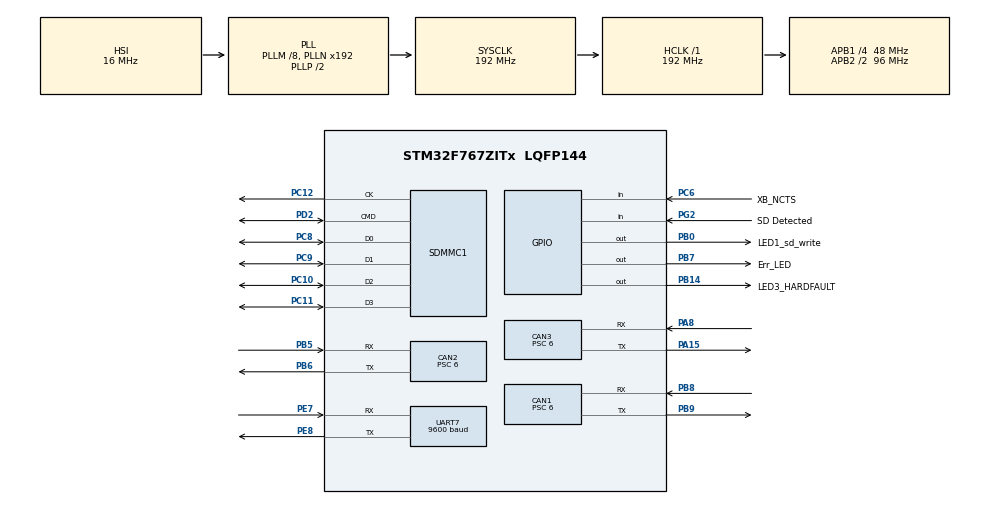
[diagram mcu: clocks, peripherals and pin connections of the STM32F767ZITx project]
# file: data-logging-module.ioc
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CAN1.ABOM=ENABLE
CAN1.AWUM=ENABLE
CAN1.BS1=CAN_BS1_6TQ
CAN1.BS2=CAN_BS2_1TQ
CAN1.CalculateBaudRate=1000000
CAN1.CalculateTimeBit=1000
CAN1.CalculateTimeQuantum=125.0
CAN1.Prescaler=6
CAN2.ABOM=ENABLE
CAN2.AWUM=ENABLE
CAN2.BS1=CAN_BS1_6TQ
CAN2.BS2=CAN_BS2_1TQ
CAN2.CalculateBaudRate=1000000
CAN2.CalculateTimeBit=1000
CAN2.CalculateTimeQuantum=125.0
CAN2.Prescaler=6
CAN3.ABOM=ENABLE
CAN3.AWUM=ENABLE
CAN3.BS1=CAN_BS1_6TQ
CAN3.CalculateBaudRate=1000000
CAN3.CalculateTimeBit=1000
CAN3.CalculateTimeQuantum=125.0
CAN3.Prescaler=6
Dma.Request0=SDMMC1_TX
Dma.Request1=SDMMC1_RX
Dma.Request2=UART7_TX
Dma.SDMMC1_RX.1.Direction=DMA_PERIPH_TO_MEMORY
Dma.SDMMC1_RX.1.FIFOMode=DMA_FIFOMODE_ENABLE
Dma.SDMMC1_RX.1.FIFOThreshold=DMA_FIFO_THRESHOLD_FULL
Dma.SDMMC1_RX.1.Instance=DMA2_Stream6
Dma.SDMMC1_RX.1.MemBurst=DMA_MBURST_INC4
Dma.SDMMC1_RX.1.MemDataAlignment=DMA_MDATAALIGN_WORD
Dma.SDMMC1_RX.1.MemInc=DMA_MINC_ENABLE
Dma.SDMMC1_RX.1.Mode=DMA_PFCTRL
Dma.SDMMC1_RX.1.PeriphBurst=DMA_PBURST_INC4
Dma.SDMMC1_RX.1.PeriphDataAlignment=DMA_PDATAALIGN_WORD
Dma.SDMMC1_RX.1.PeriphInc=DMA_PINC_DISABLE
Dma.SDMMC1_RX.1.Priority=DMA_PRIORITY_VERY_HIGH
Dma.SDMMC1_TX.0.Direction=DMA_MEMORY_TO_PERIPH
Dma.SDMMC1_TX.0.FIFOMode=DMA_FIFOMODE_ENABLE
Dma.SDMMC1_TX.0.FIFOThreshold=DMA_FIFO_THRESHOLD_FULL
Dma.SDMMC1_TX.0.Instance=DMA2_Stream3
Dma.SDMMC1_TX.0.MemBurst=DMA_MBURST_INC4
Dma.SDMMC1_TX.0.MemDataAlignment=DMA_MDATAALIGN_WORD
Dma.SDMMC1_TX.0.MemInc=DMA_MINC_ENABLE
Dma.SDMMC1_TX.0.Mode=DMA_PFCTRL
Dma.SDMMC1_TX.0.PeriphBurst=DMA_PBURST_INC4
Dma.SDMMC1_TX.0.PeriphDataAlignment=DMA_PDATAALIGN_WORD
Dma.SDMMC1_TX.0.PeriphInc=DMA_PINC_DISABLE
Dma.SDMMC1_TX.0.Priority=DMA_PRIORITY_VERY_HIGH
Dma.UART7_TX.2.Direction=DMA_MEMORY_TO_PERIPH
Dma.UART7_TX.2.FIFOMode=DMA_FIFOMODE_DISABLE
Dma.UART7_TX.2.Instance=DMA1_Stream1
Dma.UART7_TX.2.MemDataAlignment=DMA_MDATAALIGN_BYTE
Dma.UART7_TX.2.MemInc=DMA_MINC_ENABLE
Dma.UART7_TX.2.Mode=DMA_NORMAL
Dma.UART7_TX.2.PeriphDataAlignment=DMA_PDATAALIGN_BYTE
Dma.UART7_TX.2.PeriphInc=DMA_PINC_DISABLE
Dma.UART7_TX.2.Priority=DMA_PRIORITY_LOW
FATFS._CODE_PAGE=437
FATFS._FS_TIMEOUT=1000
FATFS._MAX_SS=4096
FATFS._MIN_SS=512
FATFS._USE_LFN=2
FREERTOS.Mutexes01=mutex_broadcast_buffer,Dynamic,NULL;mutex_storage_buffer,Dynamic,NULL
FREERTOS.Tasks01=can_loop_task,2,1024,can_loop,Default,NULL,Dynamic,NULL,NULL;dlm_manage_data,1,1024,dlm_main,Default,NULL,Dynamic,NULL,NULL;move_ram_to_sd_,0,2048,move_ram_to_sd,Default,NULL,Dynamic,NULL,NULL;transmit_ram_,0,2048,transmit_ram,Default,NULL,Dynamic,NULL,NULL;LED_Task,-1,256,err_led_task,Default,NULL,Dynamic,NULL,NULL
FREERTOS.configCHECK_FOR_STACK_OVERFLOW=1
FREERTOS.configMINIMAL_STACK_SIZE=256
FREERTOS.configTOTAL_HEAP_SIZE=64000
Mcu.Family=STM32F7
Mcu.Name=STM32F767ZITx
Mcu.Package=LQFP144
NVIC.CAN1_RX0_IRQn=true\:5\:0\:false\:false\:true\:true\:true\:true\:true
NVIC.CAN1_RX1_IRQn=true\:5\:0\:false\:false\:true\:true\:true\:true\:true
NVIC.CAN1_TX_IRQn=true\:5\:0\:false\:false\:true\:true\:true\:true\:true
NVIC.CAN2_RX0_IRQn=true\:5\:0\:false\:false\:true\:true\:true\:true\:true
NVIC.CAN2_RX1_IRQn=true\:5\:0\:false\:false\:true\:true\:true\:true\:true
NVIC.CAN2_TX_IRQn=true\:5\:0\:false\:false\:true\:true\:true\:true\:true
NVIC.CAN3_RX0_IRQn=true\:5\:0\:false\:false\:true\:true\:true\:true\:true
NVIC.CAN3_RX1_IRQn=true\:5\:0\:false\:false\:true\:true\:true\:true\:true
NVIC.CAN3_TX_IRQn=true\:5\:0\:false\:false\:true\:true\:true\:true\:true
NVIC.DMA1_Stream1_IRQn=true\:5\:0\:false\:false\:true\:true\:false\:true\:true
NVIC.DMA2_Stream3_IRQn=true\:5\:0\:true\:false\:true\:true\:false\:true\:true
NVIC.DMA2_Stream6_IRQn=true\:5\:0\:false\:false\:true\:true\:false\:true\:true
NVIC.PriorityGroup=NVIC_PRIORITYGROUP_4
NVIC.SDMMC1_IRQn=true\:5\:0\:true\:false\:true\:true\:true\:true\:true
NVIC.TIM6_DAC_IRQn=true\:0\:0\:false\:false\:true\:false\:false\:true\:true
NVIC.TimeBase=TIM6_DAC_IRQn
NVIC.TimeBaseIP=TIM6
NVIC.UART7_IRQn=true\:5\:0\:false\:false\:true\:true\:true\:true\:true
PA15.Mode=CAN_Activate
PA15.Signal=CAN3_TX
PA8.Mode=CAN_Activate
PA8.Signal=CAN3_RX
PB0.GPIO_Label=LED1_sd_write
PB0.Signal=GPIO_Output
PB14.GPIO_Label=LED3_HARDFAULT
PB14.PinState=GPIO_PIN_RESET
PB14.Signal=GPIO_Output
PB5.Mode=CAN_Activate
PB5.Signal=CAN2_RX
PB6.Mode=CAN_Activate
PB6.Signal=CAN2_TX
PB7.GPIO_Label=Err_LED
PB7.Signal=GPIO_Output
PB8.Mode=CAN_Activate
PB8.Signal=CAN1_RX
PB9.Mode=CAN_Activate
PB9.Signal=CAN1_TX
PC10.GPIO_PuPd=GPIO_PULLUP
PC10.Mode=SD_4_bits_Wide_bus
PC10.Signal=SDMMC1_D2
PC11.GPIO_PuPd=GPIO_PULLUP
PC11.Mode=SD_4_bits_Wide_bus
PC11.Signal=SDMMC1_D3
PC12.Mode=SD_4_bits_Wide_bus
PC12.Signal=SDMMC1_CK
PC6.GPIO_Label=XB_NCTS
PC6.Signal=GPIO_Input
PC8.GPIO_PuPd=GPIO_PULLUP
PC8.Mode=SD_4_bits_Wide_bus
PC8.Signal=SDMMC1_D0
PC9.GPIO_PuPd=GPIO_PULLUP
PC9.Mode=SD_4_bits_Wide_bus
PC9.Signal=SDMMC1_D1
PD2.GPIO_PuPd=GPIO_PULLUP
PD2.Mode=SD_4_bits_Wide_bus
PD2.Signal=SDMMC1_CMD
PE7.Mode=Asynchronous
PE7.Signal=UART7_RX
PE8.Mode=Asynchronous
PE8.Signal=UART7_TX
PG2.GPIO_Label=SD Detected
PG2.GPIO_PuPd=GPIO_PULLUP
PG2.Signal=GPIO_Input
ProjectManager.HeapSize=0x200
ProjectManager.StackSize=0x400
ProjectManager.TargetToolchain=STM32CubeIDE
RCC.AHBFreq_Value=192000000
RCC.APB1CLKDivider=RCC_HCLK_DIV4
RCC.APB1Freq_Value=48000000
RCC.APB1TimFreq_Value=96000000
RCC.APB2CLKDivider=RCC_HCLK_DIV2
RCC.APB2Freq_Value=96000000
RCC.APB2TimFreq_Value=192000000
RCC.CortexFreq_Value=192000000
RCC.HCLKFreq_Value=192000000
RCC.HSE_VALUE=8000000
RCC.HSI_VALUE=16000000
RCC.LSE_VALUE=32768
RCC.PLLM=8
RCC.PLLQ=8
RCC.SDMMCClockSelection=RCC_SDMMC1CLKSOURCE_CLK48
RCC.SYSCLKFreq_VALUE=192000000
RCC.SYSCLKSource=RCC_SYSCLKSOURCE_PLLCLK
RCC.USBFreq_Value=48000000
RCC.VCOOutputFreq_Value=384000000
RTC.Date=10
RTC.Format=RTC_FORMAT_BIN
RTC.Hours=12
RTC.Minutes=0
RTC.Month=RTC_MONTH_APRIL
RTC.StoreOperation=RTC_STOREOPERATION_RESET
RTC.WeekDay=RTC_WEEKDAY_SATURDAY
RTC.Year=51
UART7.BaudRate=9600
VP_FATFS_VS_SDIO.Mode=SDIO
VP_FREERTOS_VS_CMSIS_V1.Mode=CMSIS_V1
VP_RTC_VS_RTC_Activate.Mode=RTC_Enabled
VP_RTC_VS_RTC_Calendar.Mode=RTC_Calendar
VP_SYS_VS_tim6.Mode=TIM6
board=custom

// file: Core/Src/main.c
/* USER CODE BEGIN Header */
/**
  ******************************************************************************
  * @file           : main.c
  * @brief          : Main program body
  ******************************************************************************
  * @attention
  *
  * <h2><center>&copy; Copyright (c) 2020 STMicroelectronics.
  * All rights reserved.</center></h2>
  *
  * This software component is licensed by ST under BSD 3-Clause license,
  * the "License"; You may not use this file except in compliance with the
  * License. You may obtain a copy of the License at:
  *                        opensource.org/licenses/BSD-3-Clause
  *
  ******************************************************************************
  */
/* USER CODE END Header */
#include "main.h"
#include "cmsis_os.h"
#include "fatfs.h"

/* USER CODE BEGIN Includes */
#include "dlm-high_level_functions.h"
#include "dlm-error_handling.h"
/* USER CODE END Includes */

CAN_HandleTypeDef hcan1;
CAN_HandleTypeDef hcan2;
CAN_HandleTypeDef hcan3;

RTC_HandleTypeDef hrtc;

SD_HandleTypeDef hsd1;
DMA_HandleTypeDef hdma_sdmmc1_tx;
DMA_HandleTypeDef hdma_sdmmc1_rx;

UART_HandleTypeDef huart7;
DMA_HandleTypeDef hdma_uart7_tx;

osThreadId can_loop_taskHandle;
osThreadId dlm_manage_dataHandle;
osThreadId move_ram_to_sd_Handle;
osThreadId transmit_ram_Handle;
osThreadId LED_TaskHandle;
osMutexId mutex_broadcast_bufferHandle;
osMutexId mutex_storage_bufferHandle;

void SystemClock_Config(void);
static void MX_GPIO_Init(void);
static void MX_DMA_Init(void);
static void MX_CAN1_Init(void);
static void MX_CAN2_Init(void);
static void MX_SDMMC1_SD_Init(void);
static void MX_RTC_Init(void);
static void MX_CAN3_Init(void);
static void MX_UART7_Init(void);
void can_loop(void const * argument);
void dlm_main(void const * argument);
void move_ram_to_sd(void const * argument);
void transmit_ram(void const * argument);
void err_led_task(void const * argument);

int main(void)
{

  /* MCU Configuration--------------------------------------------------------*/

  /* Reset of all peripherals, Initializes the Flash interface and the Systick. */
  HAL_Init();

  /* Configure the system clock */
  SystemClock_Config();

  /* Initialize all configured peripherals */
  MX_GPIO_Init();
  MX_DMA_Init();
  MX_CAN1_Init();
  MX_CAN2_Init();
  MX_SDMMC1_SD_Init();
  MX_FATFS_Init();
  MX_RTC_Init();
  MX_CAN3_Init();
  MX_UART7_Init();
  /* USER CODE BEGIN 2 */

  dlm_init(&hcan1, &hcan2, &hcan3, &huart7, GPIOB, Err_LED_Pin, GPIOB, LED1_sd_write_Pin);

  /* USER CODE END 2 */

  /* Create the mutex(es) */
  /* definition and creation of mutex_broadcast_buffer */
  osMutexDef(mutex_broadcast_buffer);
  mutex_broadcast_bufferHandle = osMutexCreate(osMutex(mutex_broadcast_buffer));

  /* definition and creation of mutex_storage_buffer */
  osMutexDef(mutex_storage_buffer);
  mutex_storage_bufferHandle = osMutexCreate(osMutex(mutex_storage_buffer));

  /* Create the thread(s) */
  /* definition and creation of can_loop_task */
  osThreadDef(can_loop_task, can_loop, osPriorityHigh, 0, 1024);
  can_loop_taskHandle = osThreadCreate(osThread(can_loop_task), NULL);

  /* definition and creation of dlm_manage_data */
  osThreadDef(dlm_manage_data, dlm_main, osPriorityAboveNormal, 0, 1024);
  dlm_manage_dataHandle = osThreadCreate(osThread(dlm_manage_data), NULL);

  /* definition and creation of move_ram_to_sd_ */
  osThreadDef(move_ram_to_sd_, move_ram_to_sd, osPriorityNormal, 0, 2048);
  move_ram_to_sd_Handle = osThreadCreate(osThread(move_ram_to_sd_), NULL);

  /* definition and creation of transmit_ram_ */
  osThreadDef(transmit_ram_, transmit_ram, osPriorityNormal, 0, 2048);
  transmit_ram_Handle = osThreadCreate(osThread(transmit_ram_), NULL);

  /* definition and creation of LED_Task */
  osThreadDef(LED_Task, err_led_task, osPriorityBelowNormal, 0, 256);
  LED_TaskHandle = osThreadCreate(osThread(LED_Task), NULL);

  /* Start scheduler */
  osKernelStart();

  /* We should never get here as control is now taken by the scheduler */
  /* Infinite loop */
  while (1)
  {

  }
}

void SystemClock_Config(void)
{
  RCC_OscInitTypeDef RCC_OscInitStruct = {0};
  RCC_ClkInitTypeDef RCC_ClkInitStruct = {0};
  RCC_PeriphCLKInitTypeDef PeriphClkInitStruct = {0};

  /** Configure the main internal regulator output voltage
  */
  __HAL_RCC_PWR_CLK_ENABLE();
  __HAL_PWR_VOLTAGESCALING_CONFIG(PWR_REGULATOR_VOLTAGE_SCALE1);
  /** Initializes the RCC Oscillators according to the specified parameters
  * in the RCC_OscInitTypeDef structure.
  */
  RCC_OscInitStruct.OscillatorType = RCC_OSCILLATORTYPE_HSI|RCC_OSCILLATORTYPE_LSI;
  RCC_OscInitStruct.HSIState = RCC_HSI_ON;
  RCC_OscInitStruct.HSICalibrationValue = RCC_HSICALIBRATION_DEFAULT;
  RCC_OscInitStruct.LSIState = RCC_LSI_ON;
  RCC_OscInitStruct.PLL.PLLState = RCC_PLL_ON;
  RCC_OscInitStruct.PLL.PLLSource = RCC_PLLSOURCE_HSI;
  RCC_OscInitStruct.PLL.PLLM = 8;
  RCC_OscInitStruct.PLL.PLLN = 192;
  RCC_OscInitStruct.PLL.PLLP = RCC_PLLP_DIV2;
  RCC_OscInitStruct.PLL.PLLQ = 8;
  if (HAL_RCC_OscConfig(&RCC_OscInitStruct) != HAL_OK)
  {
    Error_Handler();
  }
  /** Activate the Over-Drive mode
  */
  if (HAL_PWREx_EnableOverDrive() != HAL_OK)
  {
    Error_Handler();
  }
  /** Initializes the CPU, AHB and APB buses clocks
  */
  RCC_ClkInitStruct.ClockType = RCC_CLOCKTYPE_HCLK|RCC_CLOCKTYPE_SYSCLK
                              |RCC_CLOCKTYPE_PCLK1|RCC_CLOCKTYPE_PCLK2;
  RCC_ClkInitStruct.SYSCLKSource = RCC_SYSCLKSOURCE_PLLCLK;
  RCC_ClkInitStruct.AHBCLKDivider = RCC_SYSCLK_DIV1;
  RCC_ClkInitStruct.APB1CLKDivider = RCC_HCLK_DIV4;
  RCC_ClkInitStruct.APB2CLKDivider = RCC_HCLK_DIV2;

  if (HAL_RCC_ClockConfig(&RCC_ClkInitStruct, FLASH_LATENCY_6) != HAL_OK)
  {
    Error_Handler();
  }
  PeriphClkInitStruct.PeriphClockSelection = RCC_PERIPHCLK_RTC|RCC_PERIPHCLK_UART7
                              |RCC_PERIPHCLK_SDMMC1|RCC_PERIPHCLK_CLK48;
  PeriphClkInitStruct.RTCClockSelection = RCC_RTCCLKSOURCE_LSI;
  PeriphClkInitStruct.Uart7ClockSelection = RCC_UART7CLKSOURCE_PCLK1;
  PeriphClkInitStruct.Clk48ClockSelection = RCC_CLK48SOURCE_PLL;
  PeriphClkInitStruct.Sdmmc1ClockSelection = RCC_SDMMC1CLKSOURCE_CLK48;
  if (HAL_RCCEx_PeriphCLKConfig(&PeriphClkInitStruct) != HAL_OK)
  {
    Error_Handler();
  }
}

static void MX_CAN1_Init(void)
{

  /* USER CODE BEGIN CAN1_Init 0 */
#ifndef SIMULATE_DATA_COLLECTION
  /* USER CODE END CAN1_Init 0 */

  hcan1.Instance = CAN1;
  hcan1.Init.Prescaler = 6;
  hcan1.Init.Mode = CAN_MODE_NORMAL;
  hcan1.Init.SyncJumpWidth = CAN_SJW_1TQ;
  hcan1.Init.TimeSeg1 = CAN_BS1_6TQ;
  hcan1.Init.TimeSeg2 = CAN_BS2_1TQ;
  hcan1.Init.TimeTriggeredMode = DISABLE;
  hcan1.Init.AutoBusOff = ENABLE;
  hcan1.Init.AutoWakeUp = ENABLE;
  hcan1.Init.AutoRetransmission = DISABLE;
  hcan1.Init.ReceiveFifoLocked = DISABLE;
  hcan1.Init.TransmitFifoPriority = DISABLE;
  if (HAL_CAN_Init(&hcan1) != HAL_OK)
  {
    Error_Handler();
  }
  /* USER CODE BEGIN CAN1_Init 2 */
#endif
  /* USER CODE END CAN1_Init 2 */

}

static void MX_CAN2_Init(void)
{

  /* USER CODE BEGIN CAN2_Init 0 */
#ifndef SIMULATE_DATA_COLLECTION
  /* USER CODE END CAN2_Init 0 */

  hcan2.Instance = CAN2;
  hcan2.Init.Prescaler = 6;
  hcan2.Init.Mode = CAN_MODE_NORMAL;
  hcan2.Init.SyncJumpWidth = CAN_SJW_1TQ;
  hcan2.Init.TimeSeg1 = CAN_BS1_6TQ;
  hcan2.Init.TimeSeg2 = CAN_BS2_1TQ;
  hcan2.Init.TimeTriggeredMode = DISABLE;
  hcan2.Init.AutoBusOff = ENABLE;
  hcan2.Init.AutoWakeUp = ENABLE;
  hcan2.Init.AutoRetransmission = DISABLE;
  hcan2.Init.ReceiveFifoLocked = DISABLE;
  hcan2.Init.TransmitFifoPriority = DISABLE;
  if (HAL_CAN_Init(&hcan2) != HAL_OK)
  {
    Error_Handler();
  }
  /* USER CODE BEGIN CAN2_Init 2 */
#endif
  /* USER CODE END CAN2_Init 2 */

}

static void MX_CAN3_Init(void)
{

  /* USER CODE BEGIN CAN3_Init 0 */
#ifndef SIMULATE_DATA_COLLECTION
  /* USER CODE END CAN3_Init 0 */

  hcan3.Instance = CAN3;
  hcan3.Init.Prescaler = 6;
  hcan3.Init.Mode = CAN_MODE_NORMAL;
  hcan3.Init.SyncJumpWidth = CAN_SJW_1TQ;
  hcan3.Init.TimeSeg1 = CAN_BS1_6TQ;
  hcan3.Init.TimeSeg2 = CAN_BS2_1TQ;
  hcan3.Init.TimeTriggeredMode = DISABLE;
  hcan3.Init.AutoBusOff = ENABLE;
  hcan3.Init.AutoWakeUp = ENABLE;
  hcan3.Init.AutoRetransmission = DISABLE;
  hcan3.Init.ReceiveFifoLocked = DISABLE;
  hcan3.Init.TransmitFifoPriority = DISABLE;
  if (HAL_CAN_Init(&hcan3) != HAL_OK)
  {
    Error_Handler();
  }
  /* USER CODE BEGIN CAN3_Init 2 */
#endif
  /* USER CODE END CAN3_Init 2 */

}

static void MX_RTC_Init(void)
{

  /* USER CODE BEGIN RTC_Init 0 */
	// part of the bad solution
	RTC_TimeTypeDef old_time = {0};
	RTC_DateTypeDef old_date = {0};

  /* USER CODE END RTC_Init 0 */

  RTC_TimeTypeDef sTime = {0};
  RTC_DateTypeDef sDate = {0};

  /** Initialize RTC Only
  */
  hrtc.Instance = RTC;
  hrtc.Init.HourFormat = RTC_HOURFORMAT_24;
  hrtc.Init.AsynchPrediv = 127;
  hrtc.Init.SynchPrediv = 255;
  hrtc.Init.OutPut = RTC_OUTPUT_DISABLE;
  hrtc.Init.OutPutPolarity = RTC_OUTPUT_POLARITY_HIGH;
  hrtc.Init.OutPutType = RTC_OUTPUT_TYPE_OPENDRAIN;
  if (HAL_RTC_Init(&hrtc) != HAL_OK)
  {
    Error_Handler();
  }

  /* USER CODE BEGIN Check_RTC_BKUP */

  // this is a dumb solution to the problem of the auto-gen code resetting the time and
  // date on every MCU reset

  // get the time and date stored before reseting
  HAL_RTC_GetTime(&hrtc, &old_time, RTC_FORMAT_BIN);
  HAL_RTC_GetDate(&hrtc, &old_date, RTC_FORMAT_BIN);

  /* USER CODE END Check_RTC_BKUP */

  /** Initialize RTC and set the Time and Date
  */
  sTime.Hours = 12;
  sTime.Minutes = 0;
  sTime.Seconds = 0;
  sTime.DayLightSaving = RTC_DAYLIGHTSAVING_NONE;
  sTime.StoreOperation = RTC_STOREOPERATION_RESET;
  if (HAL_RTC_SetTime(&hrtc, &sTime, RTC_FORMAT_BIN) != HAL_OK)
  {
    Error_Handler();
  }
  sDate.WeekDay = RTC_WEEKDAY_SATURDAY;
  sDate.Month = RTC_MONTH_APRIL;
  sDate.Date = 10;
  sDate.Year = 51;

  if (HAL_RTC_SetDate(&hrtc, &sDate, RTC_FORMAT_BIN) != HAL_OK)
  {
    Error_Handler();
  }
  /* USER CODE BEGIN RTC_Init 2 */

  // part of the bad solution

  // put the old time and date back to what it used to be
  if (HAL_RTC_SetTime(&hrtc, &old_time, RTC_FORMAT_BIN) != HAL_OK)
  {
	Error_Handler();
  }
  if (HAL_RTC_SetDate(&hrtc, &old_date, RTC_FORMAT_BIN) != HAL_OK)
  {
    Error_Handler();
  }

  /* USER CODE END RTC_Init 2 */

}

static void MX_SDMMC1_SD_Init(void)
{

  hsd1.Instance = SDMMC1;
  hsd1.Init.ClockEdge = SDMMC_CLOCK_EDGE_RISING;
  hsd1.Init.ClockBypass = SDMMC_CLOCK_BYPASS_DISABLE;
  hsd1.Init.ClockPowerSave = SDMMC_CLOCK_POWER_SAVE_DISABLE;
  hsd1.Init.BusWide = SDMMC_BUS_WIDE_1B;
  hsd1.Init.HardwareFlowControl = SDMMC_HARDWARE_FLOW_CONTROL_DISABLE;
  hsd1.Init.ClockDiv = 0;

}

static void MX_UART7_Init(void)
{

  huart7.Instance = UART7;
  huart7.Init.BaudRate = 9600;
  huart7.Init.WordLength = UART_WORDLENGTH_8B;
  huart7.Init.StopBits = UART_STOPBITS_1;
  huart7.Init.Parity = UART_PARITY_NONE;
  huart7.Init.Mode = UART_MODE_TX_RX;
  huart7.Init.HwFlowCtl = UART_HWCONTROL_NONE;
  huart7.Init.OverSampling = UART_OVERSAMPLING_16;
  huart7.Init.OneBitSampling = UART_ONE_BIT_SAMPLE_DISABLE;
  huart7.AdvancedInit.AdvFeatureInit = UART_ADVFEATURE_NO_INIT;
  if (HAL_UART_Init(&huart7) != HAL_OK)
  {
    Error_Handler();
  }

}

static void MX_DMA_Init(void)
{

  /* DMA controller clock enable */
  __HAL_RCC_DMA2_CLK_ENABLE();
  __HAL_RCC_DMA1_CLK_ENABLE();

  /* DMA interrupt init */
  /* DMA1_Stream1_IRQn interrupt configuration */
  HAL_NVIC_SetPriority(DMA1_Stream1_IRQn, 5, 0);
  HAL_NVIC_EnableIRQ(DMA1_Stream1_IRQn);
  /* DMA2_Stream3_IRQn interrupt configuration */
  HAL_NVIC_SetPriority(DMA2_Stream3_IRQn, 5, 0);
  HAL_NVIC_EnableIRQ(DMA2_Stream3_IRQn);
  /* DMA2_Stream6_IRQn interrupt configuration */
  HAL_NVIC_SetPriority(DMA2_Stream6_IRQn, 5, 0);
  HAL_NVIC_EnableIRQ(DMA2_Stream6_IRQn);

}

static void MX_GPIO_Init(void)
{
  GPIO_InitTypeDef GPIO_InitStruct = {0};

  /* GPIO Ports Clock Enable */
  __HAL_RCC_GPIOB_CLK_ENABLE();
  __HAL_RCC_GPIOE_CLK_ENABLE();
  __HAL_RCC_GPIOG_CLK_ENABLE();
  __HAL_RCC_GPIOC_CLK_ENABLE();
  __HAL_RCC_GPIOA_CLK_ENABLE();
  __HAL_RCC_GPIOD_CLK_ENABLE();

  /*Configure GPIO pin Output Level */
  HAL_GPIO_WritePin(GPIOB, LED1_sd_write_Pin|LED3_HARDFAULT_Pin|Err_LED_Pin, GPIO_PIN_RESET);

  /*Configure GPIO pins : LED1_sd_write_Pin LED3_HARDFAULT_Pin Err_LED_Pin */
  GPIO_InitStruct.Pin = LED1_sd_write_Pin|LED3_HARDFAULT_Pin|Err_LED_Pin;
  GPIO_InitStruct.Mode = GPIO_MODE_OUTPUT_PP;
  GPIO_InitStruct.Pull = GPIO_NOPULL;
  GPIO_InitStruct.Speed = GPIO_SPEED_FREQ_LOW;
  HAL_GPIO_Init(GPIOB, &GPIO_InitStruct);

  /*Configure GPIO pin : SD_Detected_Pin */
  GPIO_InitStruct.Pin = SD_Detected_Pin;
  GPIO_InitStruct.Mode = GPIO_MODE_INPUT;
  GPIO_InitStruct.Pull = GPIO_PULLUP;
  HAL_GPIO_Init(SD_Detected_GPIO_Port, &GPIO_InitStruct);

  /*Configure GPIO pin : XB_NCTS_Pin */
  GPIO_InitStruct.Pin = XB_NCTS_Pin;
  GPIO_InitStruct.Mode = GPIO_MODE_INPUT;
  GPIO_InitStruct.Pull = GPIO_NOPULL;
  HAL_GPIO_Init(XB_NCTS_GPIO_Port, &GPIO_InitStruct);

}

void can_loop(void const * argument)
{
  /* USER CODE BEGIN 5 */
  /* Infinite loop */
  for(;;)
  {
	  can_service_loop();
  }
  /* USER CODE END 5 */
}

void dlm_main(void const * argument)
{
  /* USER CODE BEGIN dlm_main */
  /* Infinite loop */
  for(;;)
  {
	  manage_data_aquisition();
  }
  /* USER CODE END dlm_main */
}

void move_ram_to_sd(void const * argument)
{
  /* USER CODE BEGIN move_ram_to_sd */
  /* Infinite loop */
  for(;;)
  {
	  move_ram_data_to_storage();
  }
  /* USER CODE END move_ram_to_sd */
}

void transmit_ram(void const * argument)
{
  /* USER CODE BEGIN transmit_ram */
  /* Infinite loop */
  for(;;)
  {
	  transmit_ram_data();
  }
  /* USER CODE END transmit_ram */
}

void err_led_task(void const * argument)
{
  /* USER CODE BEGIN err_led_task */
  /* Infinite loop */
  for(;;)
  {
	  handle_error_led();
  }
  /* USER CODE END err_led_task */
}

 /**
  * @brief  Period elapsed callback in non blocking mode
  * @note   This function is called  when TIM6 interrupt took place, inside
  * HAL_TIM_IRQHandler(). It makes a direct call to HAL_IncTick() to increment
  * a global variable "uwTick" used as application time base.
  * @param  htim : TIM handle
  * @retval None
  */
void HAL_TIM_PeriodElapsedCallback(TIM_HandleTypeDef *htim)
{
  if (htim->Instance == TIM6) {
    HAL_IncTick();
  }
}

void Error_Handler(void)
{
  /* USER CODE BEGIN Error_Handler_Debug */
  /* User can add his own implementation to report the HAL error return state */
  __disable_irq();
  while (1)
  {
	  // give a blink code to note it failed to init, then reset
	  for (U8 c = 0; c < DLM_ERR_INIT_FAIL; c++)
	  {
			HAL_GPIO_WritePin(GPIOB, Err_LED_Pin, SET);
			HAL_Delay(ERR_BLINK_TIME);
			HAL_GPIO_WritePin(GPIOB, Err_LED_Pin, RESET);
			HAL_Delay(ERR_BLINK_TIME);
		}

		HAL_Delay(ERR_WAIT_TIME);
		NVIC_SystemReset();
  }
  /* USER CODE END Error_Handler_Debug */
}

/************************ (C) COPYRIGHT STMicroelectronics *****END OF FILE****/

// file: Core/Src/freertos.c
/* USER CODE BEGIN Header */
/**
  ******************************************************************************
  * File Name          : freertos.c
  * Description        : Code for freertos applications
  ******************************************************************************
  * @attention
  *
  * <h2><center>&copy; Copyright (c) 2022 STMicroelectronics.
  * All rights reserved.</center></h2>
  *
  * This software component is licensed by ST under Ultimate Liberty license
  * SLA0044, the "License"; You may not use this file except in compliance with
  * the License. You may obtain a copy of the License at:
  *                             www.st.com/SLA0044
  *
  ******************************************************************************
  */
/* USER CODE END Header */

#include "FreeRTOS.h"
#include "task.h"
#include "main.h"

/* GetIdleTaskMemory prototype (linked to static allocation support) */
void vApplicationGetIdleTaskMemory( StaticTask_t **ppxIdleTaskTCBBuffer, StackType_t **ppxIdleTaskStackBuffer, uint32_t *pulIdleTaskStackSize );

/* Hook prototypes */
void vApplicationStackOverflowHook(xTaskHandle xTask, signed char *pcTaskName);

/* USER CODE BEGIN 4 */
__weak void vApplicationStackOverflowHook(xTaskHandle xTask, signed char *pcTaskName)
{
   /* Run time stack overflow checking is performed if
   configCHECK_FOR_STACK_OVERFLOW is defined to 1 or 2. This hook function is
   called if a stack overflow is detected. */
	// toggle the blue LED in the case of a stack overflow
      while (1)
	  {
		  HAL_Delay(250);
		  HAL_GPIO_TogglePin(GPIOB, GPIO_PIN_7);
	  }
}
/* USER CODE END 4 */

/* USER CODE BEGIN GET_IDLE_TASK_MEMORY */
static StaticTask_t xIdleTaskTCBBuffer;
static StackType_t xIdleStack[configMINIMAL_STACK_SIZE];

void vApplicationGetIdleTaskMemory( StaticTask_t **ppxIdleTaskTCBBuffer, StackType_t **ppxIdleTaskStackBuffer, uint32_t *pulIdleTaskStackSize )
{
  *ppxIdleTaskTCBBuffer = &xIdleTaskTCBBuffer;
  *ppxIdleTaskStackBuffer = &xIdleStack[0];
  *pulIdleTaskStackSize = configMINIMAL_STACK_SIZE;
  /* place for user code */
}
/* USER CODE END GET_IDLE_TASK_MEMORY */

/************************ (C) COPYRIGHT STMicroelectronics *****END OF FILE****/
